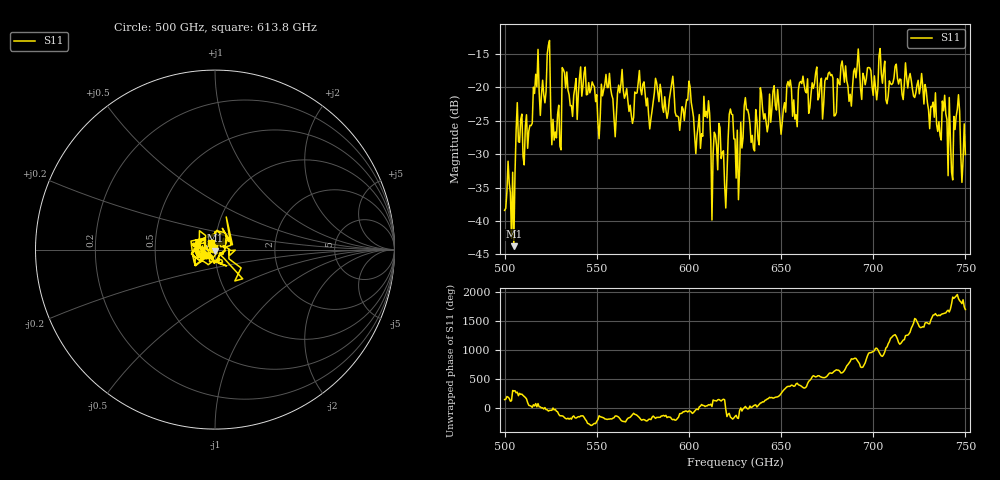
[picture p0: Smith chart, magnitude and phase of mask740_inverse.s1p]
!Created with skrf (http://scikit-rf.org).
# GHz S MA R 50.0
!freq magS11 angS11
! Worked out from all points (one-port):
!   401 points, 500 GHz to 750 GHz, reference 50 ohm
!   lowest |S11| = -43.8 dB at 505 GHz (marker M1), VSWR 1.01, Z = 50.2 - j0.613 ohm
!   |S11| at or under -10 dB: start of sweep to end of sweep
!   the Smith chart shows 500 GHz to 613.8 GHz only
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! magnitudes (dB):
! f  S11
! 500 GHz  -38.4
! 505 GHz  -43.8
! 507.5 GHz  -28.1
! 513.8 GHz  -25.7
! 516.9 GHz  -18.0
! 523.8 GHz  -13.7
! 526.9 GHz  -27.9
! 531.2 GHz  -17.0
! 550.6 GHz  -25.3
! 555.6 GHz  -20.0
! 560 GHz  -27.4
! 562.5 GHz  -20.8
! 568.8 GHz  -24.2
! 590.6 GHz  -19.6
! 593.8 GHz  -24.3
! 609.4 GHz  -23.6
! 619.4 GHz  -34.6
! 622.5 GHz  -23.2
! 625 GHz  -27.7
! 656.2 GHz  -24.3
! 687.5 GHz  -21.0
! 691.2 GHz  -16.9
! 718.8 GHz  -20.1
! 735.6 GHz  -25.2
! 738.8 GHz  -21.2
! 741.9 GHz  -27.8
! 745.6 GHz  -23.3
! 750 GHz  -30.1
